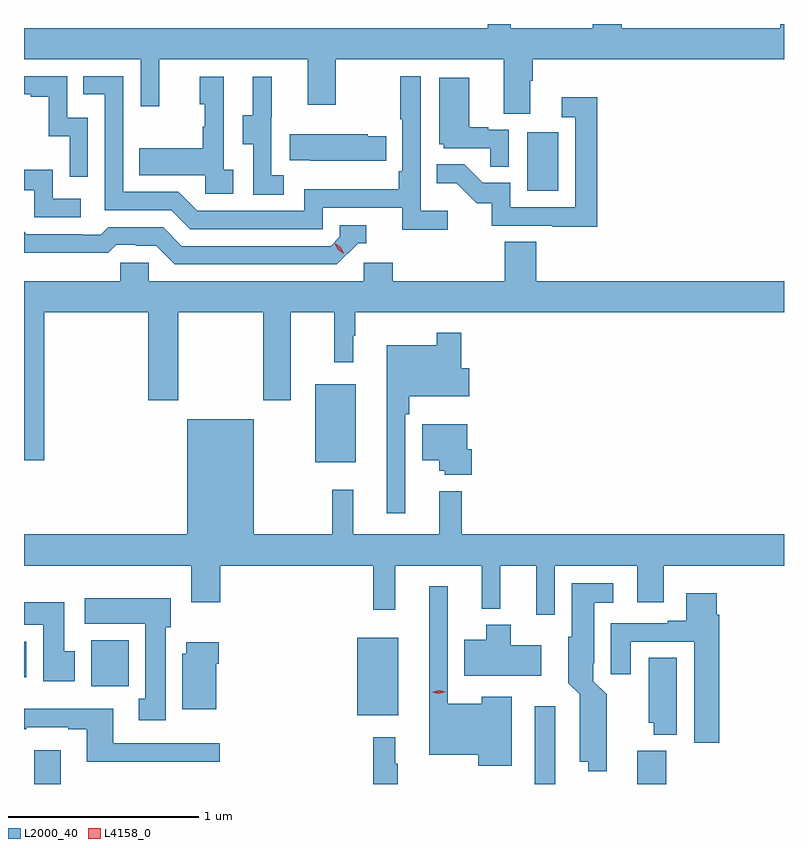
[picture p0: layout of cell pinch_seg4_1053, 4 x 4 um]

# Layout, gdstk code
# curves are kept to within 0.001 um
import gdstk
lib = gdstk.Library(unit=1e-6, precision=1e-09)
def R(c, l, rs):  # rectangles x0, y0, x1, y1
    for r in rs: c.add(gdstk.rectangle(r[:2], r[2:], *l))
def P(c, l, *ps):  # polygons
    for p in ps: c.add(gdstk.Polygon(p, *l))
L2000_40 = (2000, 40)
L4158_0 = (4158, 0)

pinch_seg4_1053 = lib.new_cell('pinch_seg4_1053')
R(pinch_seg4_1053, L2000_40, [(851.633,765.034,851.773,765.211), (854.267,765.034,854.377,765.442), (854.807,765.034,854.96,765.208), (853.334,765.395,853.549,765.805), (851.933,765.548,852.13,765.79), (851.58,765.596,851.593,765.784), (853.112,766.727,853.327,767.137), (854.228,768.156,854.392,768.463)])
P(pinch_seg4_1053, L2000_40, [(854.245,768.736),(854.258,768.736),(854.258,768.848),(855.58,768.848),(855.58,769.034),(855.56,769.034),(855.56,769.012),(854.726,769.012),(854.726,769.034),(854.573,769.034),(854.573,769.012),(854.143,769.012),(854.143,769.034),(854.022,769.034),(854.022,769.012),(851.58,769.012),(851.58,768.848),(852.195,768.848),(852.195,768.6),(852.293,768.6),(852.293,768.848),(853.073,768.848),(853.073,768.609),(853.221,768.609),(853.221,768.848),(854.105,768.848),(854.105,768.562),(854.245,768.562)],
  [(853.81,768.052),(853.668,768.052),(853.668,768.76),(853.56,768.76),(853.56,768.532),(853.572,768.532),(853.572,768.259),(853.552,768.259),(853.552,768.163),(853.056,768.163),(853.056,768.051),(852.492,768.051),(852.393,768.15),(852.102,768.15),(852.102,768.759),(851.893,768.759),(851.893,768.663),(852.006,768.663),(852.006,768.054),(852.356,768.054),(852.455,767.955),(853.152,767.955),(853.152,768.066),(853.571,768.066),(853.571,767.95),(853.81,767.95)],
  [(851.916,768.54),(851.808,768.54),(851.808,768.759),(851.58,768.759),(851.58,768.663),(851.615,768.663),(851.615,768.651),(851.711,768.651),(851.711,768.443),(851.82,768.443),(851.82,768.231),(851.916,768.231)],
  [(852.946,768.239),(852.882,768.239),(852.882,768.543),(852.884,768.543),(852.884,768.757),(852.785,768.757),(852.785,768.555),(852.731,768.555),(852.731,768.4),(852.786,768.4),(852.786,768.136),(852.946,768.136)],
  [(852.682,768.266),(852.63,768.266),(852.63,768.757),(852.506,768.757),(852.506,768.612),(852.532,768.612),(852.532,768.494),(852.522,768.494),(852.522,768.379),(852.187,768.379),(852.187,768.239),(852.534,768.239),(852.534,768.141),(852.682,768.141)],
  [(854.13,768.477),(854.024,768.477),(854.024,768.49),(853.924,768.49),(853.924,768.751),(853.766,768.751),(853.766,768.402),(853.788,768.402),(853.788,768.381),(854.035,768.381),(854.035,768.283),(854.13,768.283)],
  [(854.597,768.649),(854.409,768.649),(854.409,768.543),(854.481,768.543),(854.481,768.069),(854.139,768.069),(854.139,768.198),(853.995,768.198),(853.897,768.296),(853.753,768.296),(853.753,768.197),(853.857,768.197),(853.964,768.09),(854.041,768.09),(854.041,767.973),(854.359,767.973),(854.359,767.968),(854.597,767.968)],
  [(853.487,768.444),(853.389,768.444),(853.389,768.454),(852.979,768.454),(852.979,768.317),(853.087,768.317),(853.087,768.314),(853.487,768.314)],
  [(851.878,768.114),(851.73,768.114),(851.73,768.268),(851.58,768.268),(851.58,768.159),(851.634,768.159),(851.634,768.018),(851.878,768.018)],
  [(853.338,767.88),(853.381,767.88),(853.381,767.976),(853.242,767.976),(853.242,767.913),(853.194,767.865),(852.411,767.865),(852.312,767.964),(852.023,767.964),(851.984,767.925),(851.885,767.925),(851.885,767.928),(851.592,767.928),(851.58,767.94),(851.58,767.831),(851.79,767.831),(851.79,767.829),(852.023,767.829),(852.065,767.871),(852.168,767.871),(852.168,767.868),(852.275,767.868),(852.374,767.769),(853.227,767.769)],
  [(851.687,767.516),(852.233,767.516),(852.233,767.055),(852.393,767.055),(852.393,767.516),(852.838,767.516),(852.838,767.055),(852.985,767.055),(852.985,767.516),(853.213,767.516),(853.213,767.253),(853.312,767.253),(853.312,767.393),(853.324,767.393),(853.324,767.516),(855.58,767.516),(855.58,767.68),(854.276,767.68),(854.276,767.888),(854.111,767.888),(854.111,767.68),(853.52,767.68),(853.52,767.778),(853.368,767.778),(853.368,767.68),(852.237,767.68),(852.237,767.778),(852.087,767.778),(852.087,767.68),(851.58,767.68),(851.58,766.737),(851.687,766.737)],
  [(853.587,766.979),(853.607,766.979),(853.607,767.075),(853.924,767.075),(853.924,767.223),(853.88,767.223),(853.88,767.41),(853.752,767.41),(853.752,767.344),(853.49,767.344),(853.49,766.458),(853.587,766.458)],
  [(854.373,766.184),(854.807,766.184),(854.807,765.99),(854.947,765.99),(854.947,766.184),(855.58,766.184),(855.58,766.348),(853.883,766.348),(853.883,766.576),(853.766,766.576),(853.766,766.348),(853.313,766.348),(853.313,766.582),(853.203,766.582),(853.203,766.348),(852.79,766.348),(852.79,766.954),(852.44,766.954),(852.44,766.348),(851.58,766.348),(851.58,766.184),(852.461,766.184),(852.461,765.99),(852.614,765.99),(852.614,766.184),(853.417,766.184),(853.417,765.951),(853.535,765.951),(853.535,766.184),(853.988,766.184),(853.988,765.956),(854.087,765.956),(854.087,766.184),(854.276,766.184),(854.276,765.924),(854.373,765.924)],
  [(853.937,766.797),(853.912,766.797),(853.912,766.927),(853.676,766.927),(853.676,766.739),(853.766,766.739),(853.766,766.683),(853.794,766.683),(853.794,766.661),(853.937,766.661)],
  [(854.646,765.404),(854.647,765.506),(854.577,765.576),(854.577,765.67),(854.581,765.67),(854.581,765.989),(854.68,765.989),(854.68,766.09),(854.462,766.09),(854.462,765.81),(854.444,765.81),(854.444,765.565),(854.504,765.506),(854.504,765.152),(854.549,765.152),(854.549,765.101),(854.646,765.101)],
  [(854.146,765.493),(853.988,765.493),(853.988,765.457),(853.809,765.457),(853.809,766.075),(853.712,766.075),(853.712,765.188),(853.971,765.188),(853.971,765.131),(854.146,765.131)],
  [(855.239,765.926),(855.226,765.926),(855.226,766.039),(855.065,766.039),(855.065,765.892),(854.969,765.892),(854.969,765.879),(854.669,765.879),(854.669,765.612),(854.773,765.612),(854.773,765.783),(855.107,765.783),(855.107,765.252),(855.239,765.252)],
  [(852.325,765.858),(852.352,765.858),(852.352,766.012),(851.901,766.012),(851.901,765.878),(852.218,765.878),(852.218,765.482),(852.185,765.482),(852.185,765.369),(852.325,765.369)],
  [(851.848,765.732),(851.791,765.732),(851.791,765.991),(851.58,765.991),(851.58,765.872),(851.681,765.872),(851.681,765.576),(851.848,765.576)],
  [(854.302,765.763),(854.142,765.763),(854.142,765.871),(854.012,765.871),(854.012,765.793),(853.898,765.793),(853.898,765.605),(854.302,765.605)],
  [(852.592,765.668),(852.605,765.668),(852.605,765.781),(852.434,765.781),(852.434,765.72),(852.413,765.72),(852.413,765.428),(852.592,765.428)],
  [(855.016,765.698),(854.867,765.698),(854.867,765.357),(854.894,765.357),(854.894,765.293),(855.016,765.293)],
  [(852.61,765.249),(852.049,765.249),(852.049,765.43),(851.58,765.43),(851.58,765.321),(851.593,765.321),(851.593,765.333),(851.813,765.333),(851.813,765.321),(851.909,765.321),(851.909,765.152),(852.61,765.152)],
  [(853.546,765.14),(853.534,765.14),(853.534,765.28),(853.417,765.28),(853.417,765.034),(853.546,765.034)])
P(pinch_seg4_1053, L4158_0, [(853.764,765.508),(853.728,765.516),(853.728,765.516),(853.728,765.516),(853.763,765.528),(853.799,765.52),(853.799,765.52),(853.799,765.519)],
  [(853.264,767.826),(853.233,767.845),(853.216,767.878),(853.216,767.878),(853.217,767.878),(853.248,767.859),(853.264,767.826),(853.264,767.826)])

lib.write_gds('pinch_seg4_1053.gds')
